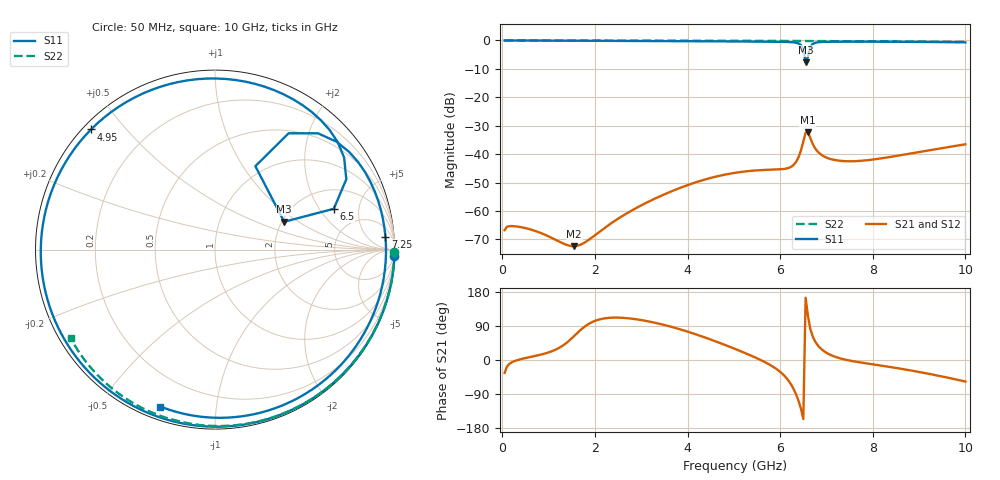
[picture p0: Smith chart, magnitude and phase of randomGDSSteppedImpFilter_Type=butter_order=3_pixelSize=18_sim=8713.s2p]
! freq	dB(S11)	phase(S11)	dB(S12)	phase(S12)
!  dB(S21)	phase(S21)	dB(S22)	phase(S22)
!S-par simulation data
#  GHz  S  DB  R 50
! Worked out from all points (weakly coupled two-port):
!   200 points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, 50 MHz to 10 GHz, reference 50 ohm
!   highest |S21| = -32.26 dB at 6.6 GHz (marker M1); lowest = -72.4 dB at 1.55 GHz (marker M2)
!   lowest |S11| = -7.6 dB at 6.55 GHz (marker M3), VSWR 2.42, Z = 103 + j38.6 ohm
!   |S11| at or under -10 dB: nowhere
!   |S22| runs from -0.5 to 0.0 dB; largest |S21 - S12| = 0
!   S11 on the Smith chart (normalised r, x): 50 MHz: 0, -54; 4.95 GHz: 0.02, +0.41; 6.5 GHz: 3.07, +2.74; 7.25 GHz: 12, +19; 10 GHz: 0.06, -0.71
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0.05  -0.00 -2.1  -66.77 -34.0  -66.77 -34.0  -0.00 -0.9
0.5  -0.02 -21.2  -66.05 5.1  -66.05 5.1  -0.01 -8.5
1.55  -0.08 -65.1  -72.40 63.1  -72.40 63.1  -0.03 -26.2
1.75  -0.09 -73.4  -71.38 85.4  -71.38 85.4  -0.04 -29.5
2.55  -0.14 -107.1  -62.21 111.6  -62.21 111.6  -0.05 -42.5
3.4  -0.20 -144.5  -54.88 95.4  -54.88 95.4  -0.07 -56.0
4.2  -0.26 176.9  -49.81 66.9  -49.81 66.9  -0.10 -68.3
4.95  -0.34 135.9  -46.78 33.0  -46.78 33.0  -0.12 -79.4
5.05  -0.35 130.0  -46.52 28.0  -46.52 28.0  -0.12 -80.9
5.5  -0.39 102.5  -45.72 4.6  -45.72 4.6  -0.14 -87.4
5.95  -0.46 73.0  -45.40 -26.4  -45.40 -26.4  -0.16 -93.8
6.3  -0.69 46.3  -43.65 -78.9  -43.65 -78.9  -0.18 -98.7
6.5  -3.10 19.0  -35.52 -155.7  -35.52 -155.7  -0.20 -101.5
6.55  -7.63 21.9  -32.47 164.3  -32.47 164.3  -0.21 -102.2
6.6  -5.74 64.2  -32.26 116.3  -32.26 116.3  -0.21 -102.8
6.65  -2.30 57.7  -34.33 82.9  -34.33 82.9  -0.21 -103.5
6.7  -1.26 48.5  -36.33 63.1  -36.33 63.1  -0.21 -104.2
6.9  -0.53 27.4  -40.36 27.8  -40.36 27.8  -0.22 -106.9
7.25  -0.42 4.4  -42.26 5.9  -42.26 5.9  -0.24 -111.7
8.35  -0.45 -49.4  -41.07 -17.8  -41.07 -17.8  -0.33 -126.4
9.15  -0.53 -80.2  -38.85 -35.1  -38.85 -35.1  -0.41 -137.1
10  -0.67 -109.2  -36.55 -56.9  -36.55 -56.9  -0.51 -148.6
